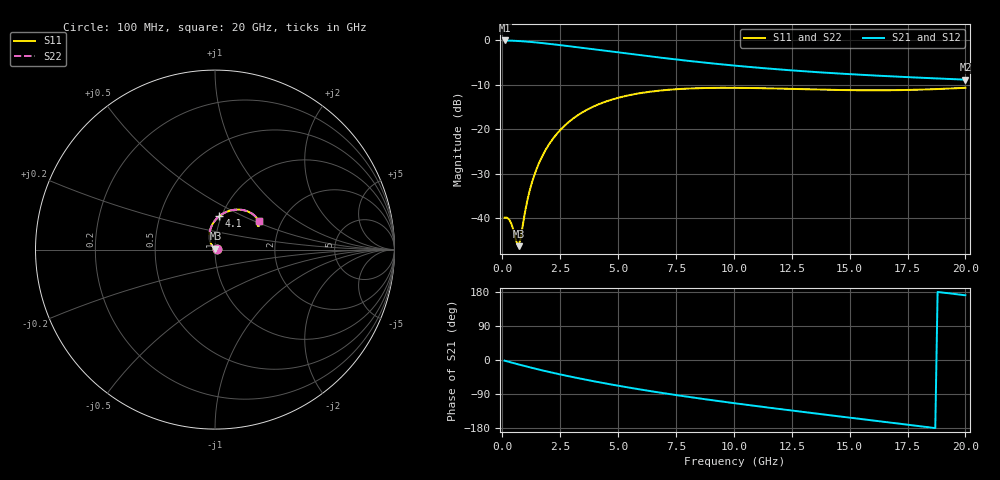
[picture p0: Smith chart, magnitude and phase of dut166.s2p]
! Touchstone file exported from HFSS 2024.1.0
!  File:  C:/UserFiles/LocalFiles/RDL_TSV_Batchsim/temp_RDL_TSV_166_1779435574.aedt
!  Generated:  03:54:33 PM May 22, 2026
!  Design:  RDL_TSV
!  Project:  temp_RDL_TSV_166_1779435574
!  Setup:  Setup1
!  Solution:  Sweep
! Variables:
!  dtsv = 8.45um
!  hbump = 3um
!  htsv = 77.56um
!  ldown = 425.69um
!  lrdl = 350.19um
!  p = 40
!  p1 = 57.62um
!  rhole = 10um
!  subl = 2677.83um
!  t = 450um
!  tdown = 4.44um
!  trdl = 3.66um
!  viad = 10um
!  wdown = 28.14um
!  wrdl = 25.5um
!  xbump = 18um
# GHz S MA R 50.000000
! Terminal data exported
! Port[1] = TM1_1_T1
! Port[2] = TM1_4_T1
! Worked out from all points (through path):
!   200 points, 100 MHz to 20 GHz, reference 50 ohm
!   highest |S21| = -0.09 dB at 100 MHz (marker M1); lowest = -8.9 dB at 20 GHz (marker M2)
!   group delay of S21, straight-line fit = 24.7 ps
!   lowest |S11| = -46.2 dB at 700 MHz (marker M3), VSWR 1.01, Z = 50.2 + j0.442 ohm
!   |S11| at or under -10 dB: start of sweep to end of sweep
!   |S22| runs from -46.2 to -10.7 dB; largest |S21 - S12| = 3.1e-14
!   S11 on the Smith chart (normalised r, x): 100 MHz: 1.02, +0.00; 4.1 GHz: 0.98, +0.38; 20 GHz: 1.54, +0.53
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0.1  0.01024 4.8  0.9893 -1.7  0.9893 -1.7  0.01024 4.8
! Gamma 0 0 0 0
! Port Impedance 50 0 50 0
0.3  0.009701 9.2  0.986 -5.1  0.986 -5.1  0.0097 9.2
0.4  0.008604 12.3  0.9839 -6.7  0.9839 -6.7  0.008603 12.3
0.6  0.005593 34.6  0.9784 -10.0  0.9784 -10.0  0.005589 34.6
0.7  0.004896 64.0  0.9751 -11.6  0.9751 -11.6  0.004892 64.1
0.8  0.006075 95.4  0.9715 -13.3  0.9715 -13.3  0.006075 95.5
1  0.01253 121.3  0.9632 -16.4  0.9632 -16.4  0.01253 121.3
1.2  0.02137 126.2  0.9536 -19.5  0.9536 -19.5  0.02138 126.2
1.4  0.03154 125.8  0.9432 -22.6  0.9432 -22.6  0.03155 125.8
1.7  0.04844 122.0  0.9262 -27.0  0.9262 -27.0  0.04847 122.0
2.1  0.07279 115.2  0.902 -32.7  0.902 -32.7  0.07283 115.2
2.5  0.09781 108.0  0.8771 -38.1  0.8771 -38.1  0.09787 108.1
3  0.1284 99.4  0.8458 -44.6  0.8458 -44.6  0.1285 99.4
3.5  0.157 91.4  0.815 -50.7  0.815 -50.7  0.1571 91.4
4.1  0.1876 82.7  0.7789 -57.8  0.7789 -57.8  0.1878 82.7
5.3  0.2352 68.0  0.7111 -71.0  0.7111 -71.0  0.2355 68.0
6.8  0.2713 54.0  0.6365 -86.0  0.6365 -86.0  0.2716 54.0
8.4  0.2883 43.2  0.5706 -100.5  0.5706 -100.5  0.2887 43.3
10.1  0.2914 35.4  0.515 -114.6  0.515 -114.6  0.2918 35.5
13.4  0.2796 28.7  0.4401 -140.2  0.4401 -140.2  0.2801 28.7
16.7  0.2737 29.7  0.3929 -164.8  0.3929 -164.8  0.2743 29.6
20  0.2917 32.8  0.3599 170.7  0.3599 170.7  0.2922 32.7
